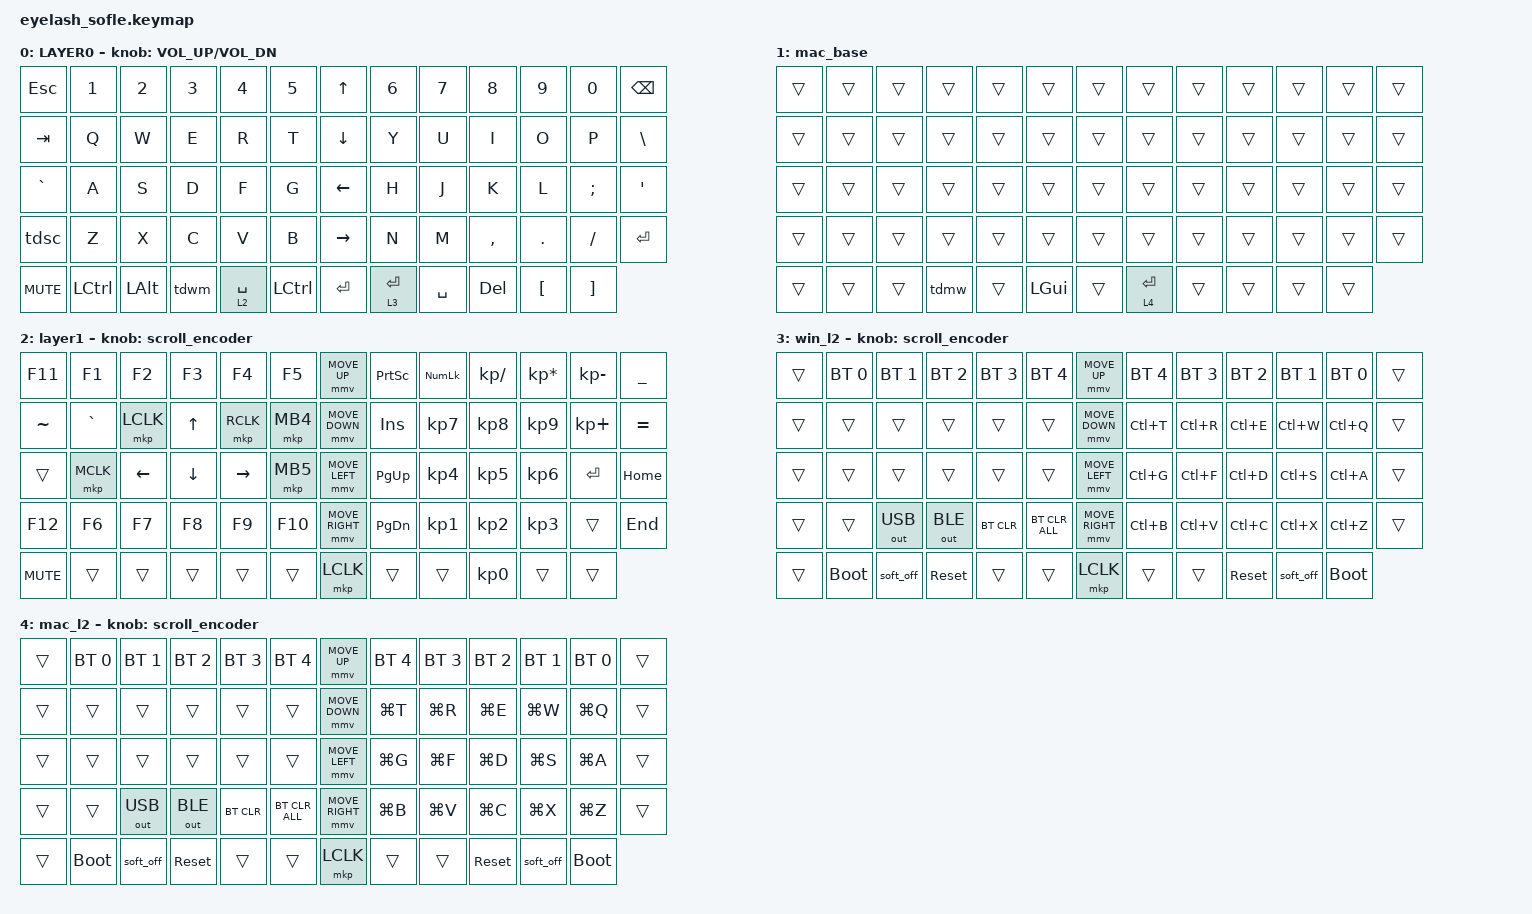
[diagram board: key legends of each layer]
#define ZMK_POINTING_DEFAULT_MOVE_VAL 1200  // 600
#define ZMK_POINTING_DEFAULT_SCRL_VAL 25   // 10

#include <input/processors.dtsi>
#include <zephyr/dt-bindings/input/input-event-codes.h>
#include <behaviors.dtsi>
#include <dt-bindings/zmk/bt.h>
#include <dt-bindings/zmk/keys.h>
#include <dt-bindings/zmk/outputs.h>
#include <dt-bindings/zmk/pointing.h>

&mmv_input_listener { input-processors = <&zip_xy_scaler 2 1>; };

&msc_input_listener { input-processors = <&zip_scroll_scaler 2 1>; };

&msc {
    acceleration-exponent = <1>;      // 0
    time-to-max-speed-ms = <100>;       // 300
    delay-ms = <0>;                   // 0
};

&mmv {
    time-to-max-speed-ms = <500>;
    acceleration-exponent = <1>;
    trigger-period-ms = <16>;
};

/ {
    scroll_encoder: scroll_encoder {
        compatible = "zmk,behavior-sensor-rotate";
        #sensor-binding-cells = <0>;
        bindings = <&msc SCRL_DOWN>, <&msc SCRL_UP>;

        tap-ms = <100>;
    };

    tdsc: tdsc {
        compatible = "zmk,behavior-tap-dance";
        label = "TDSC";
        #binding-cells = <0>;
        bindings = <&kp LEFT_SHIFT>, <&kp CAPS>;
    };

    tdwm: tdwm {
        compatible = "zmk,behavior-tap-dance";
        label = "TDWM";
        #binding-cells = <0>;
        bindings = <&kp LEFT_GUI>, <&to 1>;
    };

    tdmw: tdmw {
        compatible = "zmk,behavior-tap-dance";
        label = "TDMW";
        #binding-cells = <0>;
        bindings = <&kp LEFT_CONTROL>, <&to 0>;
    };

    behaviors {
    };

    combos { compatible = "zmk,combos"; };

    keymap {
        compatible = "zmk,keymap";

        win_base {
            bindings = <
&kp ESC     &kp N1            &kp N2        &kp N3  &kp N4       &kp N5       &kp UP_ARROW     &kp N6     &kp N7     &kp N8      &kp N9    &kp N0             &kp BACKSPACE
&kp TAB     &kp Q             &kp W         &kp E   &kp R        &kp T        &kp DOWN_ARROW   &kp Y      &kp U      &kp I       &kp O     &kp P              &kp BSLH
&kp GRAVE   &kp A             &kp S         &kp D   &kp F        &kp G        &kp LEFT_ARROW   &kp H      &kp J      &kp K       &kp L     &kp SEMI           &kp APOS
&tdsc       &kp Z             &kp X         &kp C   &kp V        &kp B        &kp RIGHT_ARROW  &kp N      &kp M      &kp COMMA   &kp DOT   &kp FSLH           &kp RET
&kp C_MUTE  &kp LEFT_CONTROL  &kp LEFT_ALT  &tdwm   &lt 2 SPACE  &kp LCTRL    &kp ENTER        &lt 3 RET  &kp SPACE  &kp DELETE  &kp LBKT  &kp RIGHT_BRACKET
            >;

            sensor-bindings = <&inc_dec_kp C_VOLUME_UP C_VOL_DN>;
            display-name = "LAYER0";
        };

        mac_base {
            bindings = <
&trans  &trans  &trans  &trans  &trans  &trans          &trans  &trans     &trans  &trans  &trans  &trans  &trans
&trans  &trans  &trans  &trans  &trans  &trans          &trans  &trans     &trans  &trans  &trans  &trans  &trans
&trans  &trans  &trans  &trans  &trans  &trans          &trans  &trans     &trans  &trans  &trans  &trans  &trans
&trans  &trans  &trans  &trans  &trans  &trans          &trans  &trans     &trans  &trans  &trans  &trans  &trans
&trans  &trans  &trans  &tdmw   &trans  &kp LEFT_GUI    &trans  &lt 4 RET  &trans  &trans  &trans  &trans
            >;
        };

        share_l1 {
            bindings = <
&kp F11     &kp F1     &kp F2     &kp F3        &kp F4     &kp F5      &mmv MOVE_UP     &kp PRINTSCREEN  &kp KP_NUMLOCK   &kp KP_DIVIDE    &kp KP_MULTIPLY  &kp KP_MINUS  &kp UNDER
&kp TILDE   &kp GRAVE  &mkp LCLK  &kp UP_ARROW  &mkp RCLK  &mkp MB4    &mmv MOVE_DOWN   &kp INS          &kp KP_NUMBER_7  &kp KP_NUMBER_8  &kp KP_NUMBER_9  &kp KP_PLUS   &kp EQUAL
&trans      &mkp MCLK  &kp LEFT   &kp DOWN      &kp RIGHT  &mkp MB5    &mmv MOVE_LEFT   &kp PAGE_UP      &kp KP_NUMBER_4  &kp KP_NUMBER_5  &kp KP_NUMBER_6  &kp RET       &kp HOME
&kp F12     &kp F6     &kp F7     &kp F8        &kp F9     &kp F10     &mmv MOVE_RIGHT  &kp PAGE_DOWN    &kp KP_NUMBER_1  &kp KP_NUMBER_2  &kp KP_NUMBER_3  &trans        &kp END
&kp C_MUTE  &trans     &trans     &trans        &trans     &trans      &mkp LCLK        &trans           &trans           &kp KP_NUMBER_0  &trans           &trans
            >;

            display-name = "layer1";
            sensor-bindings = <&scroll_encoder>;
        };

        win_l2 {
            bindings = <
&trans  &bt BT_SEL 0  &bt BT_SEL 1  &bt BT_SEL 2  &bt BT_SEL 3  &bt BT_SEL 4      &mmv MOVE_UP     &bt BT_SEL 4  &bt BT_SEL 3  &bt BT_SEL 2  &bt BT_SEL 1  &bt BT_SEL 0  &trans
&trans  &trans        &trans        &trans        &trans        &trans            &mmv MOVE_DOWN   &kp LC(T)     &kp LC(R)     &kp LC(E)     &kp LC(W)     &kp LC(Q)     &trans
&trans  &trans        &trans        &trans        &trans        &trans            &mmv MOVE_LEFT   &kp LC(G)     &kp LC(F)     &kp LC(D)     &kp LC(S)     &kp LC(A)     &trans
&trans  &trans        &out OUT_USB  &out OUT_BLE  &bt BT_CLR    &bt BT_CLR_ALL    &mmv MOVE_RIGHT  &kp LC(B)     &kp LC(V)     &kp LC(C)     &kp LC(X)     &kp LC(Z)     &trans
&trans  &bootloader   &soft_off     &sys_reset    &trans        &trans            &mkp LCLK        &trans        &trans        &sys_reset    &soft_off     &bootloader
            >;

            sensor-bindings = <&scroll_encoder>;
        };

        mac_l2 {
            bindings = <
&trans  &bt BT_SEL 0  &bt BT_SEL 1  &bt BT_SEL 2  &bt BT_SEL 3  &bt BT_SEL 4      &mmv MOVE_UP     &bt BT_SEL 4  &bt BT_SEL 3  &bt BT_SEL 2  &bt BT_SEL 1  &bt BT_SEL 0  &trans
&trans  &trans        &trans        &trans        &trans        &trans            &mmv MOVE_DOWN   &kp LG(T)     &kp LG(R)     &kp LG(E)     &kp LG(W)     &kp LG(Q)     &trans
&trans  &trans        &trans        &trans        &trans        &trans            &mmv MOVE_LEFT   &kp LG(G)     &kp LG(F)     &kp LG(D)     &kp LG(S)     &kp LG(A)     &trans
&trans  &trans        &out OUT_USB  &out OUT_BLE  &bt BT_CLR    &bt BT_CLR_ALL    &mmv MOVE_RIGHT  &kp LG(B)     &kp LG(V)     &kp LG(C)     &kp LG(X)     &kp LG(Z)     &trans
&trans  &bootloader   &soft_off     &sys_reset    &trans        &trans            &mkp LCLK        &trans        &trans        &sys_reset    &soft_off     &bootloader
            >;

            sensor-bindings = <&scroll_encoder>;
        };
    };
};
